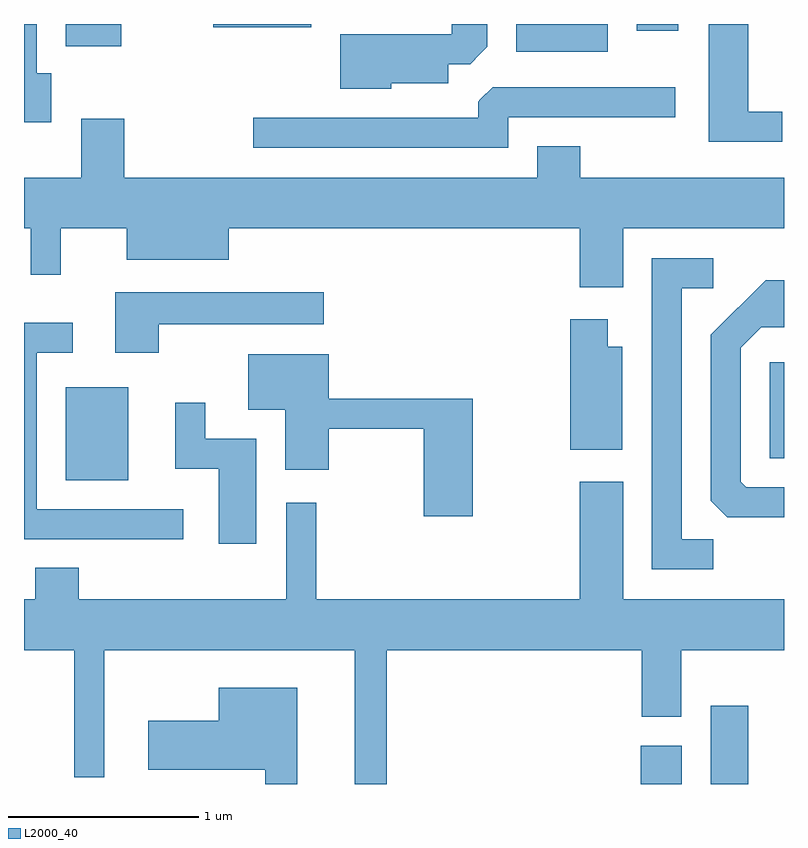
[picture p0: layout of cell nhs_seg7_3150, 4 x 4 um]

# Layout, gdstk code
import gdstk
lib = gdstk.Library(unit=1e-6, precision=1e-09)
def R(c, l, rs):  # rectangles x0, y0, x1, y1
    for r in rs: c.add(gdstk.rectangle(r[:2], r[2:], *l))
def P(c, l, *ps):  # polygons
    for p in ps: c.add(gdstk.Polygon(p, *l))
L2000_40 = (2000, 40)

nhs_seg7_3150 = lib.new_cell('nhs_seg7_3150')
R(nhs_seg7_3150, L2000_40, [(284.856,1740.252,285.074,1740.454), (285.226,1740.252,285.424,1740.664), (281.831,1741.851,282.159,1742.339), (285.536,1741.966,285.611,1742.473), (284.201,1744.106,284.684,1744.252), (281.831,1744.136,282.124,1744.252), (284.836,1744.216,285.054,1744.252), (282.606,1744.236,283.124,1744.252)])
P(nhs_seg7_3150, L2000_40, [(283.544,1743.941),(283.844,1743.941),(283.844,1744.041),(283.959,1744.041),(284.013,1744.095),(284.049,1744.132),(284.049,1744.252),(283.861,1744.252),(283.861,1744.199),(283.276,1744.199),(283.276,1743.911),(283.544,1743.911)],
  [(285.603,1743.789),(285.424,1743.789),(285.424,1744.252),(285.216,1744.252),(285.216,1743.631),(285.603,1743.631)],
  [(281.754,1743.994),(281.679,1743.994),(281.679,1744.252),(281.611,1744.252),(281.611,1743.736),(281.754,1743.736)],
  [(284.159,1743.761),(285.038,1743.761),(285.038,1743.919),(284.077,1743.919),(284.013,1743.855),(284.001,1743.844),(284.001,1743.759),(282.818,1743.759),(282.818,1743.601),(284.159,1743.601)],
  [(284.764,1743.176),(285.611,1743.176),(285.611,1743.444),(284.539,1743.444),(284.539,1743.609),(284.311,1743.609),(284.311,1743.444),(282.139,1743.444),(282.139,1743.754),(281.911,1743.754),(281.911,1743.444),(281.611,1743.444),(281.611,1743.176),(281.646,1743.176),(281.646,1742.933),(281.804,1742.933),(281.804,1743.176),(282.151,1743.176),(282.151,1743.011),(282.689,1743.011),(282.689,1743.176),(284.536,1743.176),(284.536,1742.866),(284.764,1742.866)],
  [(285.238,1741.539),(285.074,1741.539),(285.074,1742.861),(285.238,1742.861),(285.238,1743.019),(284.916,1743.019),(284.916,1741.381),(285.238,1741.381)],
  [(285.611,1741.814),(285.412,1741.814),(285.384,1741.842),(285.384,1742.549),(285.492,1742.656),(285.611,1742.656),(285.611,1742.904),(285.514,1742.904),(285.226,1742.617),(285.226,1741.742),(285.312,1741.656),(285.611,1741.656)],
  [(282.319,1742.671),(283.188,1742.671),(283.188,1742.839),(282.091,1742.839),(282.091,1742.521),(282.319,1742.521)],
  [(284.759,1742.554),(284.684,1742.554),(284.684,1742.699),(284.486,1742.699),(284.486,1742.011),(284.759,1742.011)],
  [(282.448,1741.699),(281.679,1741.699),(281.679,1742.521),(281.868,1742.521),(281.868,1742.679),(281.611,1742.679),(281.611,1741.541),(282.448,1741.541)],
  [(283.974,1742.279),(283.214,1742.279),(283.214,1742.514),(282.791,1742.514),(282.791,1742.221),(282.986,1742.221),(282.986,1741.906),(283.214,1741.906),(283.214,1742.121),(283.716,1742.121),(283.716,1741.661),(283.974,1741.661)],
  [(282.834,1742.069),(282.564,1742.069),(282.564,1742.258),(282.406,1742.258),(282.406,1741.911),(282.636,1741.911),(282.636,1741.516),(282.834,1741.516)],
  [(283.149,1741.733),(282.991,1741.733),(282.991,1741.224),(281.899,1741.224),(281.899,1741.389),(281.671,1741.389),(281.671,1741.224),(281.611,1741.224),(281.611,1740.956),(281.876,1740.956),(281.876,1740.288),(282.034,1740.288),(282.034,1740.956),(283.351,1740.956),(283.351,1740.252),(283.519,1740.252),(283.519,1740.956),(284.861,1740.956),(284.861,1740.606),(285.069,1740.606),(285.069,1740.956),(285.611,1740.956),(285.611,1741.224),(284.764,1741.224),(284.764,1741.844),(284.536,1741.844),(284.536,1741.224),(283.149,1741.224)],
  [(283.049,1740.759),(282.636,1740.759),(282.636,1740.584),(282.266,1740.584),(282.266,1740.326),(282.881,1740.326),(282.881,1740.252),(283.049,1740.252)])

lib.write_gds('nhs_seg7_3150.gds')
